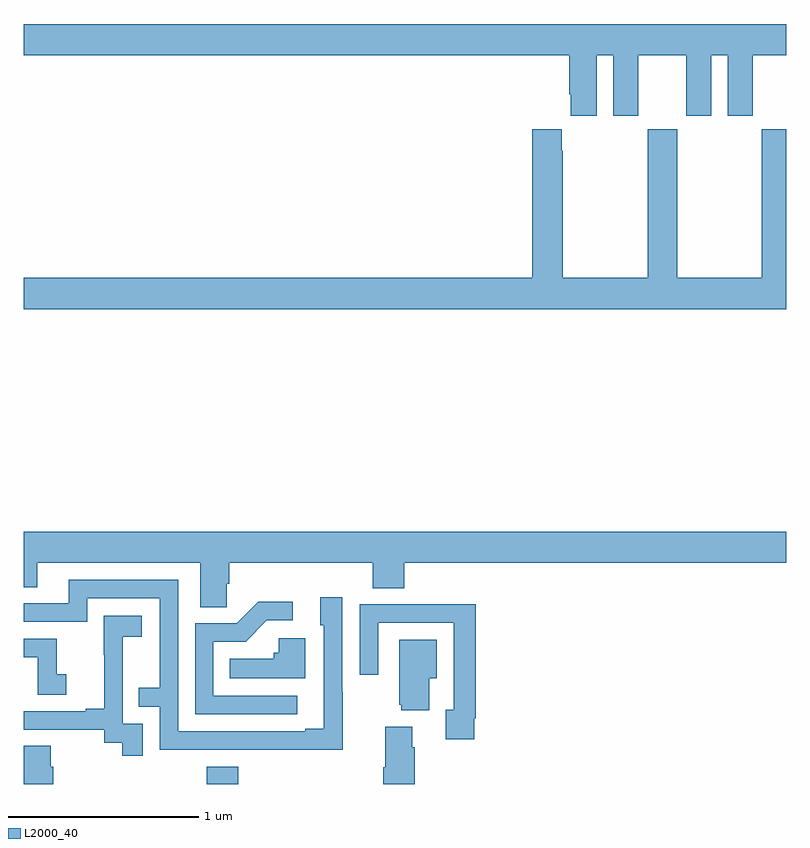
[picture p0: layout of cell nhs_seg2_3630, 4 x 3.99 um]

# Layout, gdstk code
import gdstk
lib = gdstk.Library(unit=1e-6, precision=1e-09)
def R(c, l, rs):  # rectangles x0, y0, x1, y1
    for r in rs: c.add(gdstk.rectangle(r[:2], r[2:], *l))
def P(c, l, *ps):  # polygons
    for p in ps: c.add(gdstk.Polygon(p, *l))
L2000_40 = (2000, 40)

nhs_seg2_3630 = lib.new_cell('nhs_seg2_3630')
R(nhs_seg2_3630, L2000_40, [(301.961,655.8,302.126,655.891)])
P(nhs_seg2_3630, L2000_40, [(304.006,659.624),(304.094,659.624),(304.094,659.307),(304.225,659.307),(304.225,659.624),(304.475,659.624),(304.475,659.307),(304.606,659.307),(304.606,659.624),(304.694,659.624),(304.694,659.307),(304.825,659.307),(304.825,659.624),(305,659.624),(305,659.788),(301,659.788),(301,659.624),(303.863,659.624),(303.863,659.419),(303.869,659.419),(303.869,659.307),(304.006,659.307)],
  [(305,659.236),(304.873,659.236),(304.873,658.456),(304.428,658.456),(304.428,659.236),(304.273,659.236),(304.273,658.456),(303.828,658.456),(303.828,659.123),(303.823,659.123),(303.823,659.236),(303.668,659.236),(303.668,658.456),(301,658.456),(301,658.292),(305,658.292)],
  [(302.064,656.851),(302.078,656.851),(302.078,656.96),(302.831,656.96),(302.831,656.827),(302.996,656.827),(302.996,656.96),(305,656.96),(305,657.124),(301,657.124),(301,656.833),(301.069,656.833),(301.069,656.96),(301.925,656.96),(301.925,656.728),(302.064,656.728)],
  [(302.673,656.285),(302.67,656.285),(302.67,656.779),(302.555,656.779),(302.555,656.634),(302.574,656.634),(302.574,656.089),(302.477,656.089),(302.477,656.076),(301.809,656.076),(301.809,656.871),(301.235,656.871),(301.235,656.748),(301,656.748),(301,656.652),(301.332,656.652),(301.332,656.775),(301.713,656.775),(301.713,656.306),(301.603,656.306),(301.603,656.205),(301.713,656.205),(301.713,655.98),(302.209,655.98),(302.209,655.979),(302.673,655.979)],
  [(302.434,656.262),(301.995,656.262),(301.995,656.547),(302.164,656.547),(302.275,656.658),(302.41,656.658),(302.41,656.756),(302.231,656.756),(302.118,656.643),(301.899,656.643),(301.899,656.166),(302.434,656.166)],
  [(303.364,656.146),(303.371,656.146),(303.371,656.744),(303.079,656.744),(303.079,656.742),(302.763,656.742),(302.763,656.373),(302.859,656.373),(302.859,656.646),(303.255,656.646),(303.255,656.19),(303.215,656.19),(303.215,656.034),(303.364,656.034)],
  [(301.623,656.115),(301.518,656.115),(301.518,656.345),(301.52,656.345),(301.52,656.573),(301.618,656.573),(301.618,656.683),(301.42,656.683),(301.42,656.477),(301.421,656.477),(301.421,656.194),(301.325,656.194),(301.325,656.181),(301,656.181),(301,656.085),(301.422,656.085),(301.422,656.017),(301.515,656.017),(301.515,655.947),(301.623,655.947)],
  [(302.476,656.566),(302.337,656.566),(302.337,656.49),(302.311,656.49),(302.311,656.458),(302.08,656.458),(302.08,656.354),(302.476,656.354)],
  [(301.222,656.377),(301.173,656.377),(301.173,656.562),(301,656.562),(301,656.466),(301.074,656.466),(301.074,656.268),(301.222,656.268)],
  [(303.127,656.354),(303.166,656.354),(303.166,656.557),(302.969,656.557),(302.969,656.217),(302.981,656.217),(302.981,656.186),(303.127,656.186)],
  [(303.05,655.994),(303.037,655.994),(303.037,656.101),(302.897,656.101),(302.897,655.888),(302.885,655.888),(302.885,655.8),(303.05,655.8)],
  [(301.154,655.89),(301.141,655.89),(301.141,656),(301,656),(301,655.8),(301.154,655.8)])

lib.write_gds('nhs_seg2_3630.gds')
